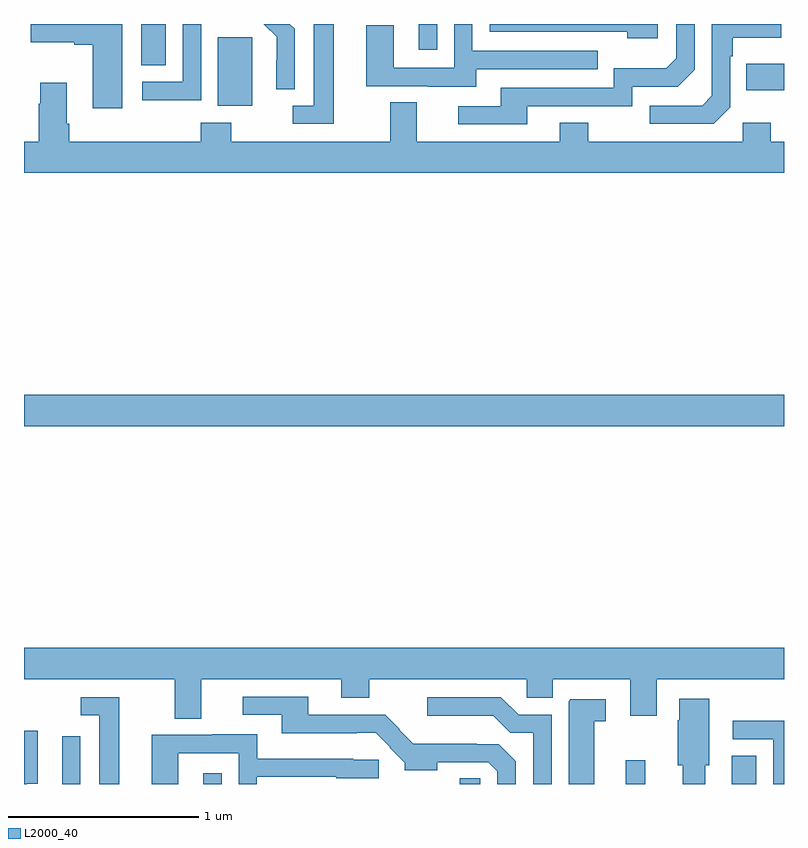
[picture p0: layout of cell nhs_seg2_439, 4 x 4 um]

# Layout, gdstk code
import gdstk
lib = gdstk.Library(unit=1e-6, precision=1e-09)
def R(c, l, rs):  # rectangles x0, y0, x1, y1
    for r in rs: c.add(gdstk.rectangle(r[:2], r[2:], *l))
def P(c, l, *ps):  # polygons
    for p in ps: c.add(gdstk.Polygon(p, *l))
L2000_40 = (2000, 40)

nhs_seg2_439 = lib.new_cell('nhs_seg2_439')
R(nhs_seg2_439, L2000_40, [(133.943,597.8,134.04,597.856), (135.294,597.8,135.402,597.83), (136.166,597.8,136.27,597.925), (136.724,597.8,136.855,597.95), (133,599.684,137,599.848), (134.021,601.37,134.2,601.731), (136.801,601.451,137,601.591), (133.616,601.582,133.747,601.8), (135.077,601.665,135.174,601.8)])
P(nhs_seg2_439, L2000_40, [(134.629,601.8),(134.525,601.8),(134.525,601.371),(134.415,601.371),(134.415,601.275),(134.629,601.275)],
  [(136.336,601.8),(135.45,601.8),(135.45,601.758),(136.175,601.758),(136.175,601.724),(136.336,601.724)],
  [(134.424,601.774),(134.398,601.8),(134.262,601.8),(134.33,601.733),(134.33,601.61),(134.328,601.61),(134.328,601.456),(134.424,601.456)],
  [(133.932,601.8),(133.836,601.8),(133.836,601.497),(133.623,601.497),(133.623,601.399),(133.932,601.399)],
  [(135.379,601.563),(136.019,601.563),(136.019,601.659),(135.36,601.659),(135.36,601.8),(135.264,601.8),(135.264,601.569),(134.946,601.569),(134.946,601.793),(134.801,601.793),(134.801,601.473),(135.125,601.473),(135.125,601.469),(135.379,601.469)],
  [(136.716,601.362),(136.716,601.631),(136.729,601.631),(136.729,601.727),(136.985,601.727),(136.985,601.8),(136.62,601.8),(136.62,601.422),(136.569,601.371),(136.293,601.371),(136.293,601.275),(136.629,601.275)],
  [(133.516,601.8),(133.035,601.8),(133.035,601.703),(133.265,601.703),(133.265,601.691),(133.361,601.691),(133.361,601.356),(133.516,601.356)],
  [(135.649,601.368),(136.2,601.368),(136.2,601.47),(136.44,601.47),(136.53,601.56),(136.53,601.8),(136.434,601.8),(136.434,601.62),(136.381,601.567),(136.104,601.567),(136.104,601.464),(135.509,601.464),(135.509,601.368),(135.285,601.368),(135.285,601.272),(135.649,601.272)],
  [(137,601.18),(136.929,601.18),(136.929,601.279),(136.782,601.279),(136.782,601.18),(135.969,601.18),(135.969,601.279),(135.821,601.279),(135.821,601.18),(135.067,601.18),(135.067,601.388),(134.927,601.388),(134.927,601.18),(134.091,601.18),(134.091,601.279),(133.931,601.279),(133.931,601.18),(133.238,601.18),(133.238,601.276),(133.225,601.276),(133.225,601.492),(133.085,601.492),(133.085,601.379),(133.078,601.379),(133.078,601.18),(133,601.18),(133,601.016),(137,601.016)],
  [(133.933,598.352),(134.669,598.352),(134.669,598.253),(134.817,598.253),(134.817,598.352),(135.645,598.352),(135.645,598.254),(135.784,598.254),(135.784,598.352),(136.19,598.352),(136.19,598.158),(136.33,598.158),(136.33,598.352),(137,598.352),(137,598.516),(133,598.516),(133,598.352),(133.793,598.352),(133.793,598.144),(133.933,598.144)],
  [(135.588,597.921),(135.499,598.01),(135.383,598.01),(135.383,598.012),(135.049,598.012),(134.975,598.085),(134.977,598.087),(134.901,598.164),(134.497,598.164),(134.497,598.26),(134.151,598.26),(134.151,598.164),(134.357,598.164),(134.357,598.067),(134.75,598.067),(134.75,598.07),(134.852,598.07),(134.928,597.993),(134.925,597.99),(135.004,597.912),(135.004,597.872),(135.175,597.872),(135.175,597.915),(135.444,597.915),(135.492,597.867),(135.492,597.8),(135.588,597.8)],
  [(133.501,598.257),(133.299,598.257),(133.299,598.161),(133.397,598.161),(133.397,597.8),(133.501,597.8)],
  [(135.777,598.164),(135.603,598.164),(135.51,598.257),(135.123,598.257),(135.123,598.16),(135.469,598.16),(135.56,598.069),(135.681,598.069),(135.681,597.8),(135.777,597.8)],
  [(136.585,597.9),(136.606,597.9),(136.606,598.249),(136.448,598.249),(136.448,598.136),(136.441,598.136),(136.441,597.9),(136.466,597.9),(136.466,597.8),(136.585,597.8)],
  [(136,598.129),(136.063,598.129),(136.063,598.245),(135.876,598.245),(135.866,598.235),(135.866,597.8),(136,597.8)],
  [(137,598.134),(136.731,598.134),(136.731,598.035),(136.944,598.035),(136.944,597.8),(137,597.8)],
  [(133.015,597.801),(133.072,597.801),(133.072,598.08),(133,598.08),(133,597.8),(133.015,597.8)],
  [(133.812,597.963),(134.13,597.963),(134.13,597.8),(134.226,597.8),(134.226,597.837),(134.643,597.837),(134.643,597.831),(134.868,597.831),(134.868,597.927),(134.733,597.927),(134.733,597.934),(134.227,597.934),(134.227,598.063),(133.991,598.063),(133.991,598.059),(133.673,598.059),(133.673,597.8),(133.812,597.8)],
  [(133.296,598.051),(133.2,598.051),(133.2,597.904),(133.202,597.904),(133.202,597.8),(133.296,597.8)])

lib.write_gds('nhs_seg2_439.gds')
